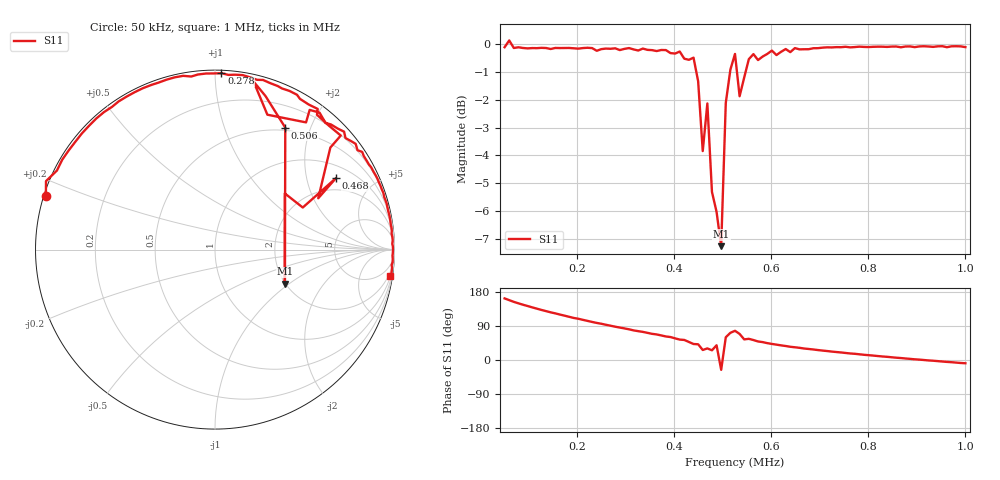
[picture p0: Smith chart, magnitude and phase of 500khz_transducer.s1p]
# HZ S RI R 50
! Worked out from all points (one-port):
!   101 points, 50 kHz to 1 MHz, reference 50 ohm
!   lowest |S11| = -7.3 dB at 496.5 kHz (marker M1), VSWR 2.53, Z = 99.4 - j46.4 ohm
!   |S11| at or under -10 dB: nowhere
!   S11 on the Smith chart (normalised r, x): 50 kHz: 0.01, +0.15; 278 kHz: 0.02, +1.04; 468 kHz: 1.46, +3.01; 506 kHz: 0.46, +1.63; 1 MHz: 1, -13
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50000  -0.9421 0.2972
59500  -0.9416 0.3815
107000  -0.7414 0.6475
173500  -0.4471 0.8773
221000  -0.2249 0.9596
278000  0.036 0.9828
287500  0.0748 0.9734
335000  0.2678 0.9451
411000  0.5723 0.7836
420500  0.5682 0.7512
439500  0.7008 0.6354
449000  0.6427 0.5685
458500  0.5752 0.286
468000  0.6737 0.398
477500  0.489 0.2345
487000  0.389 0.3131
496500  0.3894 -0.1897
506000  0.3916 0.6796
515500  0.2816 0.8551
525000  0.2149 0.9364
534500  0.2918 0.7516
544000  0.5072 0.7087
553500  0.5274 0.7783
601000  0.7193 0.6569
648500  0.8201 0.5443
762500  0.943 0.2922
886000  0.9899 0.0509
1000000  0.9771 -0.1481
